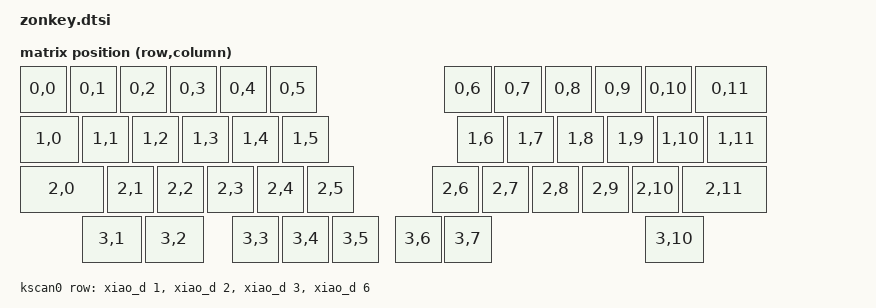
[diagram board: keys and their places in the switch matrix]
#include <dt-bindings/zmk/matrix_transform.h>
#include <physical_layouts.dtsi>

/ {
    chosen {
        zmk,physical-layout = &zonkey_physical_layout;
        zmk,battery = &non_lipo_battery;
    };

    zonkey_physical_layout: zonkey_physical_layout {
        compatible = "zmk,physical-layout";
        display-name = "Default";
        transform = <&default_transform>;
        kscan = <&kscan0>;

        keys  //                     w   h    x    y     rot    rx    ry
            = <&key_physical_attrs 100 100    0    0       0     0     0>
            , <&key_physical_attrs 100 100  100    0       0     0     0>
            , <&key_physical_attrs 100 100  200    0       0     0     0>
            , <&key_physical_attrs 100 100  300    0       0     0     0>
            , <&key_physical_attrs 100 100  400    0       0     0     0>
            , <&key_physical_attrs 100 100  500    0       0     0     0>
            , <&key_physical_attrs 100 100  850    0       0     0     0>
            , <&key_physical_attrs 100 100  950    0       0     0     0>
            , <&key_physical_attrs 100 100 1050    0       0     0     0>
            , <&key_physical_attrs 100 100 1150    0       0     0     0>
            , <&key_physical_attrs 100 100 1250    0       0     0     0>
            , <&key_physical_attrs 150 100 1350    0       0     0     0>
            , <&key_physical_attrs 125 100    0  100       0     0     0>
            , <&key_physical_attrs 100 100  125  100       0     0     0>
            , <&key_physical_attrs 100 100  225  100       0     0     0>
            , <&key_physical_attrs 100 100  325  100       0     0     0>
            , <&key_physical_attrs 100 100  425  100       0     0     0>
            , <&key_physical_attrs 100 100  525  100       0     0     0>
            , <&key_physical_attrs 100 100  875  100       0     0     0>
            , <&key_physical_attrs 100 100  975  100       0     0     0>
            , <&key_physical_attrs 100 100 1075  100       0     0     0>
            , <&key_physical_attrs 100 100 1175  100       0     0     0>
            , <&key_physical_attrs 100 100 1275  100       0     0     0>
            , <&key_physical_attrs 125 100 1375  100       0     0     0>
            , <&key_physical_attrs 175 100    0  200       0     0     0>
            , <&key_physical_attrs 100 100  175  200       0     0     0>
            , <&key_physical_attrs 100 100  275  200       0     0     0>
            , <&key_physical_attrs 100 100  375  200       0     0     0>
            , <&key_physical_attrs 100 100  475  200       0     0     0>
            , <&key_physical_attrs 100 100  575  200       0     0     0>
            , <&key_physical_attrs 100 100  825  200       0     0     0>
            , <&key_physical_attrs 100 100  925  200       0     0     0>
            , <&key_physical_attrs 100 100 1025  200       0     0     0>
            , <&key_physical_attrs 100 100 1125  200       0     0     0>
            , <&key_physical_attrs 100 100 1225  200       0     0     0>
            , <&key_physical_attrs 175 100 1325  200       0     0     0>
            , <&key_physical_attrs 125 100  125  300       0     0     0>
            , <&key_physical_attrs 125 100  250  300       0     0     0>
            , <&key_physical_attrs 100 100  425  300       0     0     0>
            , <&key_physical_attrs 100 100  525  300       0     0     0>
            , <&key_physical_attrs 100 100  625  300       0     0     0>
            , <&key_physical_attrs 100 100  750  300       0     0     0>
            , <&key_physical_attrs 100 100  850  300       0     0     0>
            , <&key_physical_attrs 125 100 1250  300       0     0     0>
            ;
    };

    default_transform: keymap_transform_0 {
        compatible = "zmk,matrix-transform";
        columns = <12>;
        rows = <4>;
        map = <
            RC(0,0) RC(0,1) RC(0,2) RC(0,3) RC(0,4) RC(0,5)     RC(0,6) RC(0,7) RC(0,8) RC(0,9) RC(0,10) RC(0,11)
            RC(1,0) RC(1,1) RC(1,2) RC(1,3) RC(1,4) RC(1,5)     RC(1,6) RC(1,7) RC(1,8) RC(1,9) RC(1,10) RC(1,11)
            RC(2,0) RC(2,1) RC(2,2) RC(2,3) RC(2,4) RC(2,5)     RC(2,6) RC(2,7) RC(2,8) RC(2,9) RC(2,10) RC(2,11)
                    RC(3,1) RC(3,2) RC(3,3) RC(3,4) RC(3,5)     RC(3,6) RC(3,7)                 RC(3,10)
        >;
    };

    kscan0: kscan {
        compatible = "zmk,kscan-gpio-matrix";
        label = "KSCAN";
        diode-direction = "col2row";
        wakeup-source;
            row-gpios
                = <&xiao_d 1 (GPIO_ACTIVE_HIGH | GPIO_PULL_DOWN)>
                , <&xiao_d 2 (GPIO_ACTIVE_HIGH | GPIO_PULL_DOWN)>
                , <&xiao_d 3 (GPIO_ACTIVE_HIGH | GPIO_PULL_DOWN)>
                , <&xiao_d 6 (GPIO_ACTIVE_HIGH | GPIO_PULL_DOWN)>
                ;
    };

    trackball_listener: trackball_listener {
        compatible = "zmk,input-listener";
        status = "disabled";
    };
    
    vbatt: vbatt {
        // Disable default battery monitoring
        status = "disabled";
    };
    non_lipo_battery: non_lipo_battery {
        compatible = "zmk,non-lipo-battery";
        io-channels = <&adc 0>;
    };

};

&adc {
    status = "okay";
};

&spi0 {
    status = "disabled";

    trackball: trackball@0 {
        status = "disabled";
        reg = <0>;
    };
};
